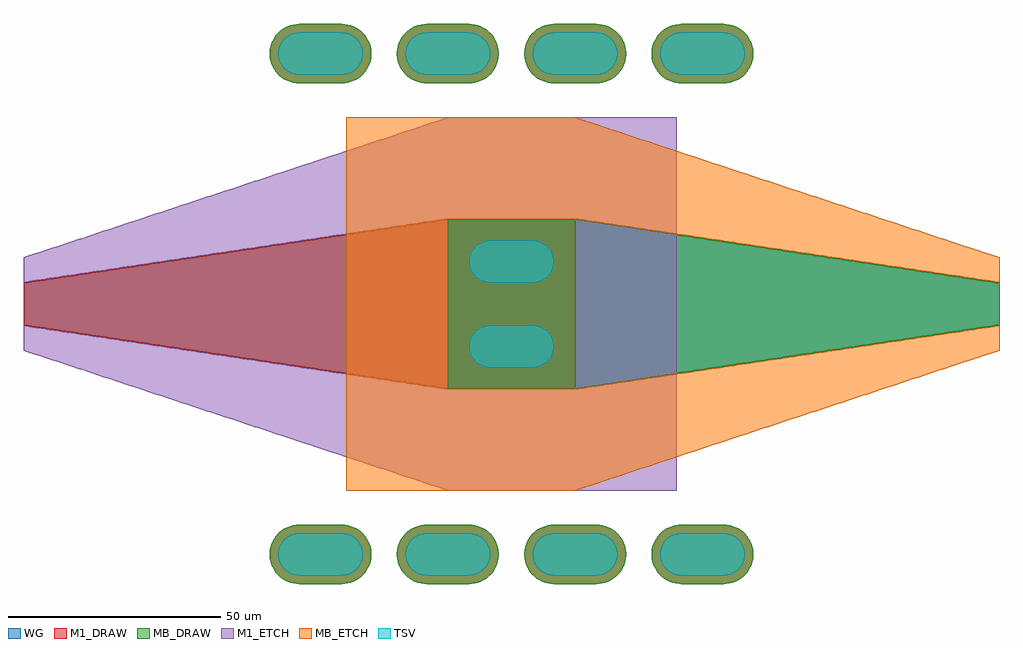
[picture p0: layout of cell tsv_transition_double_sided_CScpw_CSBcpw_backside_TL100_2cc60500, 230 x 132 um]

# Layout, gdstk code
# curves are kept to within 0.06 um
from math import pi, radians
import gdstk
lib = gdstk.Library(unit=1e-6, precision=1e-09)
def R(c, l, rs):  # rectangles x0, y0, x1, y1
    for r in rs: c.add(gdstk.rectangle(r[:2], r[2:], *l))
def P(c, l, *ps):  # polygons
    for p in ps: c.add(gdstk.Polygon(p, *l))
M1_DRAW = (1, 0)
M1_ETCH = (1, 1)
MB_DRAW = (3, 0)
MB_ETCH = (3, 1)
TSV = (31, 0)
WG = (102, 0)

straight_l30_csxs_fd8b28 = lib.new_cell('straight_L30_CSxs_fd8b2868_N2')
R(straight_l30_csxs_fd8b28, M1_DRAW, [(0,-20,30,20)])
R(straight_l30_csxs_fd8b28, M1_ETCH, [(0,-44,30,-20), (0,20,30,44)])
R(straight_l30_csxs_fd8b28, WG, [(0,-20,30,20)])

taper_cross_section_gdsf = lib.new_cell('taper_cross_section_gdsfactorypcomponentsptapersptaper__25d3d68f')
P(taper_cross_section_gdsf, M1_DRAW, [(100,-20),(0,-5),(0,5),(100,20)])
P(taper_cross_section_gdsf, M1_ETCH, [(100,-44),(0,-11),(0,-5),(100,-20)],
  [(0,5),(0,11),(100,44),(100,20)])
P(taper_cross_section_gdsf, WG, [(100,-20),(0,-5),(0,5),(100,20)])

rectangle_s24_88_lm1_etc = lib.new_cell('rectangle_S24_88_LM1_ETCH_CTrue_PTelectrical_PO180_90_0_m90')
R(rectangle_s24_88_lm1_etc, M1_ETCH, [(-12,-44,12,44)])

straight_l30_csxs_3ea0ed = lib.new_cell('straight_L30_CSxs_3ea0ed69_N2')
R(straight_l30_csxs_3ea0ed, MB_DRAW, [(0,-20,30,20)])
R(straight_l30_csxs_3ea0ed, MB_ETCH, [(0,-44,30,-20), (0,20,30,44)])
R(straight_l30_csxs_3ea0ed, WG, [(0,-20,30,20)])

c_taper_cross_section_gdsf = lib.new_cell('taper_cross_section_gdsfactorypcomponentsptapersptaper__c121e4ce')
P(c_taper_cross_section_gdsf, MB_DRAW, [(100,-20),(0,-5),(0,5),(100,20)])
P(c_taper_cross_section_gdsf, MB_ETCH, [(100,-44),(0,-11),(0,-5),(100,-20)],
  [(0,5),(0,11),(100,44),(100,20)])
P(c_taper_cross_section_gdsf, WG, [(100,-20),(0,-5),(0,5),(100,20)])

rectangle_s24_88_lmb_etc = lib.new_cell('rectangle_S24_88_LMB_ETCH_CTrue_PTelectrical_PO180_90_0_m90')
R(rectangle_s24_88_lmb_etc, MB_ETCH, [(-12,-44,12,44)])

tsv_w10_l20_pm2_ltsv_lpt = lib.new_cell('tsv_W10_L20_PM2_LTSV_LPTM1_DRAW_LPBMB_DRAW')
P(tsv_w10_l20_pm2_ltsv_lpt, M1_DRAW, [(-5,-7),(-6.409,-6.857),(-7.096,-6.679),(-8.397,-6.12),(-9.56,-5.311),(-10.074,-4.823),(-10.941,-3.703),(-11.285,-3.083),(-11.777,-1.755),(-11.991,-0.355),(-11.991,0.355),(-11.777,1.755),(-11.564,2.431),(-10.941,3.703),(-10.535,4.285),(-10.074,4.823),(-8.999,5.745),(-7.76,6.433),(-7.096,6.679),(-5.708,6.964),(5.708,6.964),(7.096,6.679),(8.397,6.12),(9.56,5.311),(10.535,4.285),(11.285,3.083),(11.777,1.755),(11.991,0.355),(11.919,-1.06),(11.564,-2.431),(10.941,-3.703),(10.074,-4.823),(8.999,-5.745),(7.76,-6.433),(7.096,-6.679),(5.708,-6.964)])
P(tsv_w10_l20_pm2_ltsv_lpt, MB_DRAW, [(-5,-7),(-6.409,-6.857),(-7.096,-6.679),(-8.397,-6.12),(-9.56,-5.311),(-10.074,-4.823),(-10.941,-3.703),(-11.285,-3.083),(-11.777,-1.755),(-11.991,-0.355),(-11.991,0.355),(-11.777,1.755),(-11.564,2.431),(-10.941,3.703),(-10.535,4.285),(-10.074,4.823),(-8.999,5.745),(-7.76,6.433),(-7.096,6.679),(-5.708,6.964),(5.708,6.964),(7.096,6.679),(8.397,6.12),(9.56,5.311),(10.535,4.285),(11.285,3.083),(11.777,1.755),(11.991,0.355),(11.919,-1.06),(11.564,-2.431),(10.941,-3.703),(10.074,-4.823),(8.999,-5.745),(7.76,-6.433),(7.096,-6.679),(5.708,-6.964)])
P(tsv_w10_l20_pm2_ltsv_lpt, TSV, [(-5,-5),(-6.497,-4.771),(-7.427,-4.372),(-8.257,-3.794),(-9.243,-2.645),(-9.84,-1.253),(-9.994,0.253),(-9.689,1.737),(-8.954,3.061),(-8.257,3.794),(-7.427,4.372),(-6.497,4.771),(-5,5),(5.506,4.974),(6.497,4.771),(7.856,4.104),(8.954,3.061),(9.489,2.202),(9.84,1.253),(9.994,0.253),(9.942,-0.757),(9.689,-1.737),(8.954,-3.061),(8.257,-3.794),(7.427,-4.372),(6.497,-4.771),(5,-5)])

tsv_transition_double_si = lib.new_cell('tsv_transition_double_sided_CScpw_CSBcpw_backside_TL100_2cc60500')
tsv_transition_double_si.add(gdstk.Reference(straight_l30_csxs_fd8b28, (-15,0)))
tsv_transition_double_si.add(gdstk.Reference(taper_cross_section_gdsf, (-115,0)))
tsv_transition_double_si.add(gdstk.Reference(rectangle_s24_88_lm1_etc, (27,0)))
tsv_transition_double_si.add(gdstk.Reference(straight_l30_csxs_3ea0ed, (15,0), rotation=pi, x_reflection=True))
tsv_transition_double_si.add(gdstk.Reference(c_taper_cross_section_gdsf, (115,0), rotation=pi))
tsv_transition_double_si.add(gdstk.Reference(rectangle_s24_88_lmb_etc, (-27,0), rotation=pi, x_reflection=True))
tsv_transition_double_si.add(gdstk.Reference(tsv_w10_l20_pm2_ltsv_lpt, (0,-10)))
tsv_transition_double_si.add(gdstk.Reference(tsv_w10_l20_pm2_ltsv_lpt, (0,10)))
tsv_transition_double_si.add(gdstk.Reference(tsv_w10_l20_pm2_ltsv_lpt, (-45,59)))
tsv_transition_double_si.add(gdstk.Reference(tsv_w10_l20_pm2_ltsv_lpt, (-45,-59)))
tsv_transition_double_si.add(gdstk.Reference(tsv_w10_l20_pm2_ltsv_lpt, (-15,59)))
tsv_transition_double_si.add(gdstk.Reference(tsv_w10_l20_pm2_ltsv_lpt, (-15,-59)))
tsv_transition_double_si.add(gdstk.Reference(tsv_w10_l20_pm2_ltsv_lpt, (15,59)))
tsv_transition_double_si.add(gdstk.Reference(tsv_w10_l20_pm2_ltsv_lpt, (15,-59)))
tsv_transition_double_si.add(gdstk.Reference(tsv_w10_l20_pm2_ltsv_lpt, (45,59)))
tsv_transition_double_si.add(gdstk.Reference(tsv_w10_l20_pm2_ltsv_lpt, (45,-59)))

lib.write_gds('tsv_transition_double_sided_CScpw_CSBcpw_backside_TL100_2cc60500.gds')
